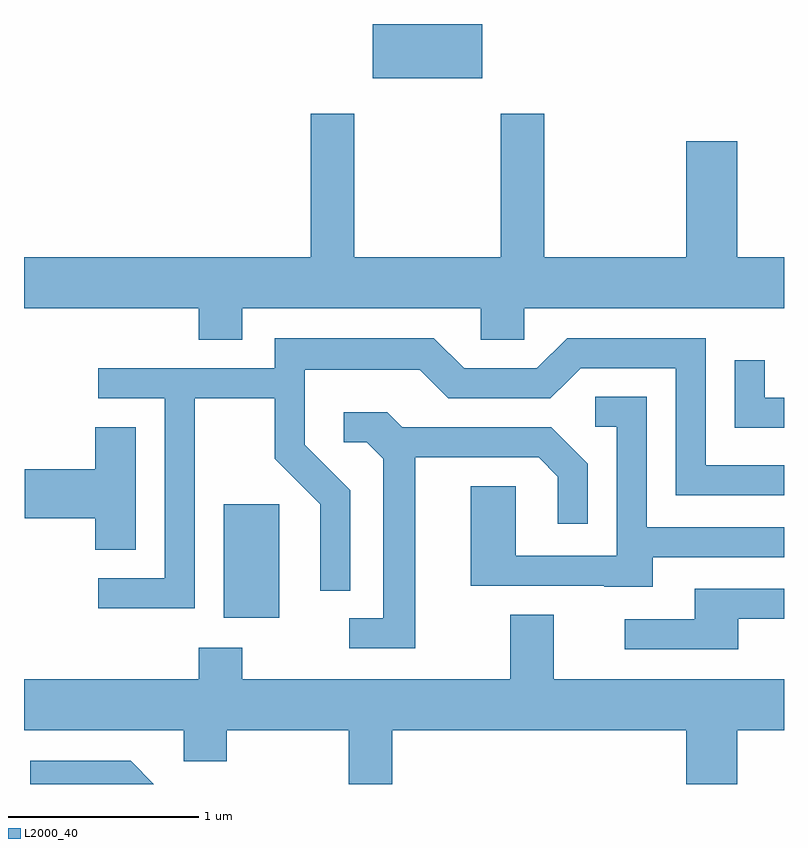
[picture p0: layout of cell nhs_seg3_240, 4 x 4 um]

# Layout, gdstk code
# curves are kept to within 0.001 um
import gdstk
lib = gdstk.Library(unit=1e-6, precision=1e-09)
def R(c, l, rs):  # rectangles x0, y0, x1, y1
    for r in rs: c.add(gdstk.rectangle(r[:2], r[2:], *l))
def P(c, l, *ps):  # polygons
    for p in ps: c.add(gdstk.Polygon(p, *l))
L2000_40 = (2000, 40)

nhs_seg3_240 = lib.new_cell('nhs_seg3_240')
R(nhs_seg3_240, L2000_40, [(192.661,1188.766,192.954,1189.364), (193.446,1191.606,194.024,1191.892)])
P(nhs_seg3_240, L2000_40, [(192.759,1190.396),(194.016,1190.396),(194.016,1190.231),(194.244,1190.231),(194.244,1190.396),(195.611,1190.396),(195.611,1190.664),(195.364,1190.664),(195.364,1191.274),(195.096,1191.274),(195.096,1190.664),(194.349,1190.664),(194.349,1191.419),(194.121,1191.419),(194.121,1190.664),(193.349,1190.664),(193.349,1191.419),(193.121,1191.419),(193.121,1190.664),(191.611,1190.664),(191.611,1190.396),(192.531,1190.396),(192.531,1190.231),(192.759,1190.231)],
  [(192.509,1189.921),(192.931,1189.921),(192.931,1189.604),(193.171,1189.364),(193.171,1188.908),(193.329,1188.908),(193.329,1189.437),(193.089,1189.677),(193.089,1190.071),(193.694,1190.071),(193.844,1189.921),(194.382,1189.921),(194.542,1190.081),(195.041,1190.081),(195.041,1189.411),(195.611,1189.411),(195.611,1189.569),(195.199,1189.569),(195.199,1190.239),(194.469,1190.239),(194.309,1190.079),(193.927,1190.079),(193.767,1190.239),(192.931,1190.239),(192.931,1190.079),(192.003,1190.079),(192.003,1189.921),(192.351,1189.921),(192.351,1188.974),(192.003,1188.974),(192.003,1188.816),(192.509,1188.816)],
  [(195.611,1189.924),(195.509,1189.924),(195.509,1190.123),(195.351,1190.123),(195.351,1189.766),(195.611,1189.766)],
  [(194.919,1189.086),(195.611,1189.086),(195.611,1189.244),(194.889,1189.244),(194.889,1189.929),(194.618,1189.929),(194.618,1189.771),(194.731,1189.771),(194.731,1189.094),(194.199,1189.094),(194.199,1189.459),(193.961,1189.459),(193.961,1188.936),(194.665,1188.936),(194.665,1188.931),(194.919,1188.931)],
  [(193.669,1189.611),(194.319,1189.611),(194.421,1189.509),(194.421,1189.263),(194.579,1189.263),(194.579,1189.577),(194.387,1189.769),(193.602,1189.769),(193.522,1189.849),(193.293,1189.849),(193.293,1189.691),(193.414,1189.691),(193.501,1189.604),(193.501,1188.764),(193.323,1188.764),(193.323,1188.606),(193.669,1188.606)],
  [(192.199,1189.769),(191.986,1189.769),(191.986,1189.549),(191.616,1189.549),(191.616,1189.291),(191.986,1189.291),(191.986,1189.126),(192.199,1189.126)],
  [(195.369,1188.761),(195.611,1188.761),(195.611,1188.919),(195.141,1188.919),(195.141,1188.759),(194.773,1188.759),(194.773,1188.601),(195.369,1188.601)],
  [(193.549,1188.176),(195.096,1188.176),(195.096,1187.892),(195.364,1187.892),(195.364,1188.176),(195.611,1188.176),(195.611,1188.444),(194.399,1188.444),(194.399,1188.784),(194.171,1188.784),(194.171,1188.444),(192.759,1188.444),(192.759,1188.609),(192.531,1188.609),(192.531,1188.444),(191.611,1188.444),(191.611,1188.176),(192.451,1188.176),(192.451,1188.011),(192.679,1188.011),(192.679,1188.176),(193.321,1188.176),(193.321,1187.892),(193.549,1187.892)],
  [(192.172,1188.014),(191.643,1188.014),(191.643,1187.892),(192.294,1187.892)])

lib.write_gds('nhs_seg3_240.gds')
